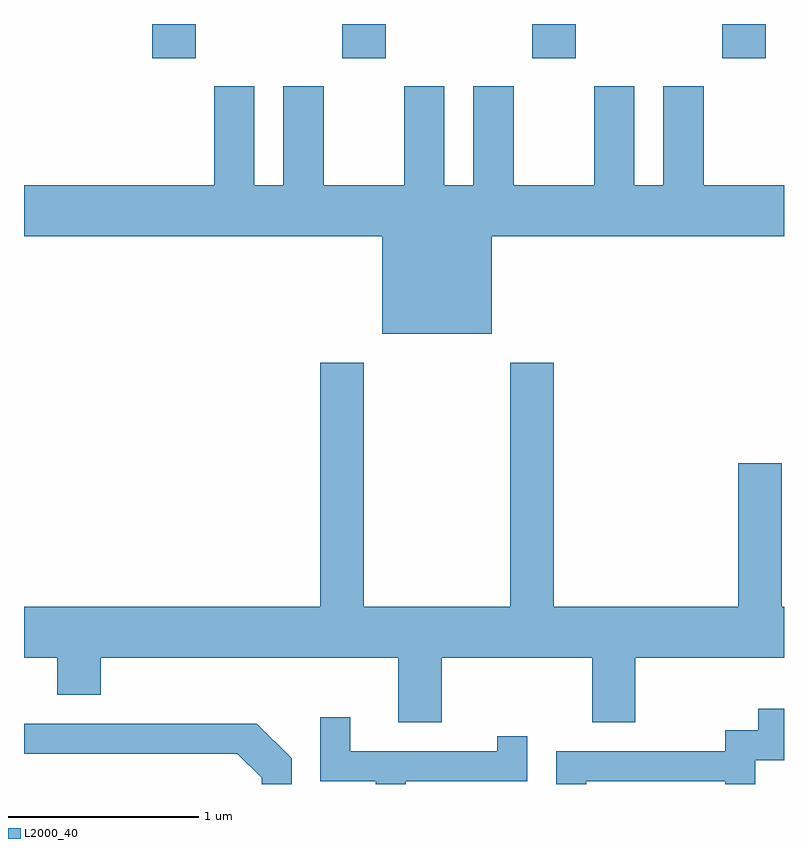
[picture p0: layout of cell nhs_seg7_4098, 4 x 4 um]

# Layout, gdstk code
import gdstk
lib = gdstk.Library(unit=1e-6, precision=1e-09)
def R(c, l, rs):  # rectangles x0, y0, x1, y1
    for r in rs: c.add(gdstk.rectangle(r[:2], r[2:], *l))
def A(c, l, x, y, w, h, nx, ny, dx, dy):  # array of equal rectangles
    R(c, l, [(x+i*dx, y+j*dy, x+i*dx+w, y+j*dy+h) for i in range(nx) for j in range(ny)])
def P(c, l, *ps):  # polygons
    for p in ps: c.add(gdstk.Polygon(p, *l))
L2000_40 = (2000, 40)

nhs_seg7_4098 = lib.new_cell('nhs_seg7_4098')
A(nhs_seg7_4098, L2000_40, 310.286, 1784.071, 0.228, 0.181, 4, 1, 1, 0)
P(nhs_seg7_4098, L2000_40, [(311.496,1782.621),(312.074,1782.621),(312.074,1783.136),(313.611,1783.136),(313.611,1783.404),(313.189,1783.404),(313.189,1783.924),(312.976,1783.924),(312.976,1783.404),(312.824,1783.404),(312.824,1783.924),(312.611,1783.924),(312.611,1783.404),(312.189,1783.404),(312.189,1783.924),(311.976,1783.924),(311.976,1783.404),(311.824,1783.404),(311.824,1783.924),(311.611,1783.924),(311.611,1783.404),(311.189,1783.404),(311.189,1783.924),(310.976,1783.924),(310.976,1783.404),(310.824,1783.404),(310.824,1783.924),(310.611,1783.924),(310.611,1783.404),(309.611,1783.404),(309.611,1783.136),(311.496,1783.136)],
  [(311.809,1780.916),(312.601,1780.916),(312.601,1780.576),(312.829,1780.576),(312.829,1780.916),(313.611,1780.916),(313.611,1781.184),(313.599,1781.184),(313.599,1781.939),(313.371,1781.939),(313.371,1781.184),(312.399,1781.184),(312.399,1782.469),(312.171,1782.469),(312.171,1781.184),(311.399,1781.184),(311.399,1782.469),(311.171,1782.469),(311.171,1781.184),(309.611,1781.184),(309.611,1780.916),(309.786,1780.916),(309.786,1780.721),(310.014,1780.721),(310.014,1780.916),(311.581,1780.916),(311.581,1780.576),(311.809,1780.576)],
  [(312.569,1780.266),(313.301,1780.266),(313.301,1780.252),(313.459,1780.252),(313.459,1780.376),(313.611,1780.376),(313.611,1780.648),(313.476,1780.648),(313.476,1780.534),(313.301,1780.534),(313.301,1780.424),(312.411,1780.424),(312.411,1780.252),(312.569,1780.252)],
  [(311.619,1780.266),(312.259,1780.266),(312.259,1780.503),(312.101,1780.503),(312.101,1780.424),(311.329,1780.424),(311.329,1780.603),(311.171,1780.603),(311.171,1780.266),(311.461,1780.266),(311.461,1780.252),(311.619,1780.252)],
  [(311.019,1780.387),(310.837,1780.569),(309.611,1780.569),(309.611,1780.411),(310.734,1780.411),(310.861,1780.284),(310.861,1780.252),(311.019,1780.252)])

lib.write_gds('nhs_seg7_4098.gds')
